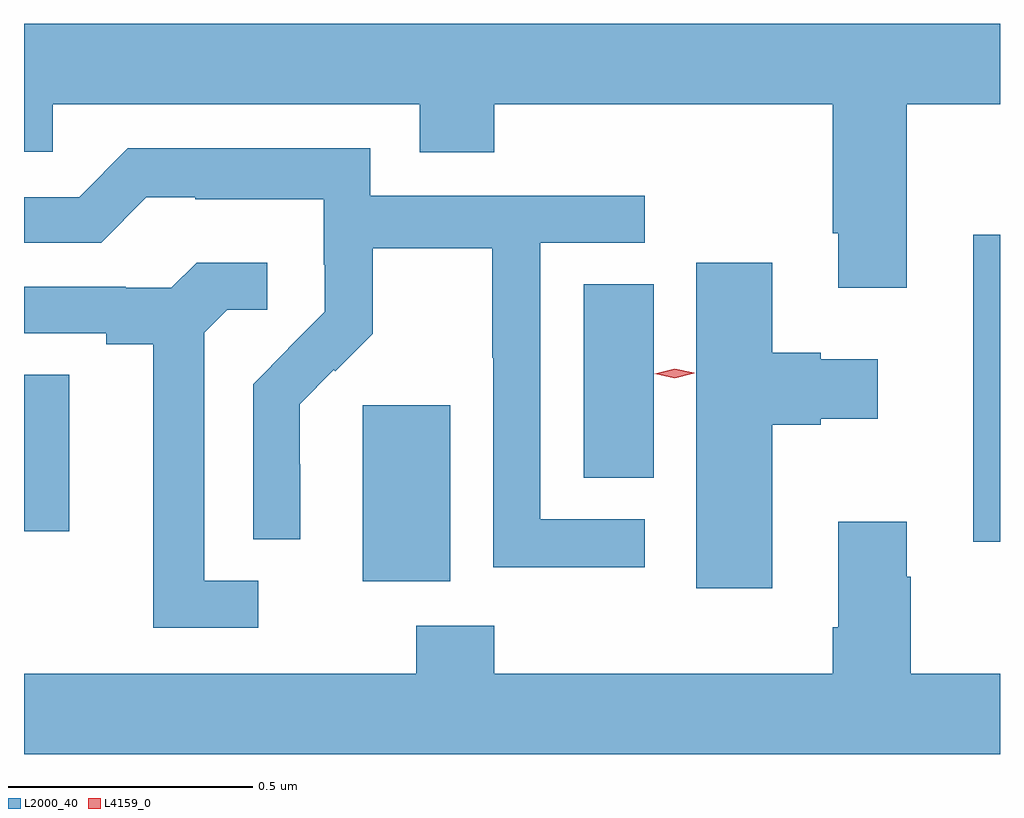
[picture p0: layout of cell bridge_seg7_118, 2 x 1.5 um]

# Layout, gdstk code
import gdstk
lib = gdstk.Library(unit=1e-6, precision=1e-09)
def R(c, l, rs):  # rectangles x0, y0, x1, y1
    for r in rs: c.add(gdstk.rectangle(r[:2], r[2:], *l))
def P(c, l, *ps):  # polygons
    for p in ps: c.add(gdstk.Polygon(p, *l))
L2000_40 = (2000, 40)
L4159_0 = (4159, 0)

bridge_seg7_118 = lib.new_cell('bridge_seg7_118')
R(bridge_seg7_118, L2000_40, [(810.698,1040.93,810.877,1041.291), (811.949,1041.011,812.004,1041.64), (810.004,1041.033,810.097,1041.353), (811.151,1041.142,811.294,1041.539)])
P(bridge_seg7_118, L2000_40, [(810.004,1041.81),(810.063,1041.81),(810.063,1041.908),(810.815,1041.908),(810.815,1041.809),(810.968,1041.809),(810.968,1041.908),(811.661,1041.908),(811.661,1041.643),(811.673,1041.643),(811.673,1041.531),(811.813,1041.531),(811.813,1041.908),(812.004,1041.908),(812.004,1042.072),(810.004,1042.072)],
  [(811.276,1041.057),(811.062,1041.057),(811.062,1041.624),(811.276,1041.624),(811.276,1041.72),(810.714,1041.72),(810.714,1041.817),(810.217,1041.817),(810.117,1041.717),(810.004,1041.717),(810.004,1041.624),(810.162,1041.624),(810.255,1041.717),(810.355,1041.717),(810.355,1041.713),(810.618,1041.713),(810.618,1041.579),(810.62,1041.579),(810.62,1041.482),(810.546,1041.408),(810.547,1041.407),(810.474,1041.334),(810.474,1041.016),(810.57,1041.016),(810.57,1041.17),(810.569,1041.17),(810.569,1041.293),(810.639,1041.363),(810.642,1041.36),(810.719,1041.437),(810.719,1041.612),(810.964,1041.612),(810.964,1041.388),(810.966,1041.388),(810.966,1040.959),(811.276,1040.959)],
  [(810.484,1040.931),(810.373,1040.931),(810.373,1041.439),(810.42,1041.486),(810.502,1041.486),(810.502,1041.583),(810.358,1041.583),(810.306,1041.531),(810.212,1041.531),(810.212,1041.534),(810.004,1041.534),(810.004,1041.438),(810.173,1041.438),(810.173,1041.416),(810.269,1041.416),(810.269,1040.835),(810.484,1040.835)],
  [(811.537,1041.251),(811.637,1041.251),(811.637,1041.263),(811.753,1041.263),(811.753,1041.385),(811.637,1041.385),(811.637,1041.398),(811.537,1041.398),(811.537,1041.583),(811.382,1041.583),(811.382,1040.916),(811.537,1040.916)],
  [(812.004,1040.74),(811.821,1040.74),(811.821,1040.939),(811.813,1040.939),(811.813,1041.052),(811.673,1041.052),(811.673,1040.836),(811.661,1040.836),(811.661,1040.74),(810.968,1040.74),(810.968,1040.839),(810.808,1040.839),(810.808,1040.74),(810.004,1040.74),(810.004,1040.576),(812.004,1040.576)])
P(bridge_seg7_118, L4159_0, [(811.337,1041.346),(811.297,1041.355),(811.297,1041.355),(811.297,1041.355),(811.337,1041.366),(811.377,1041.357),(811.377,1041.357),(811.377,1041.356)])

lib.write_gds('bridge_seg7_118.gds')
